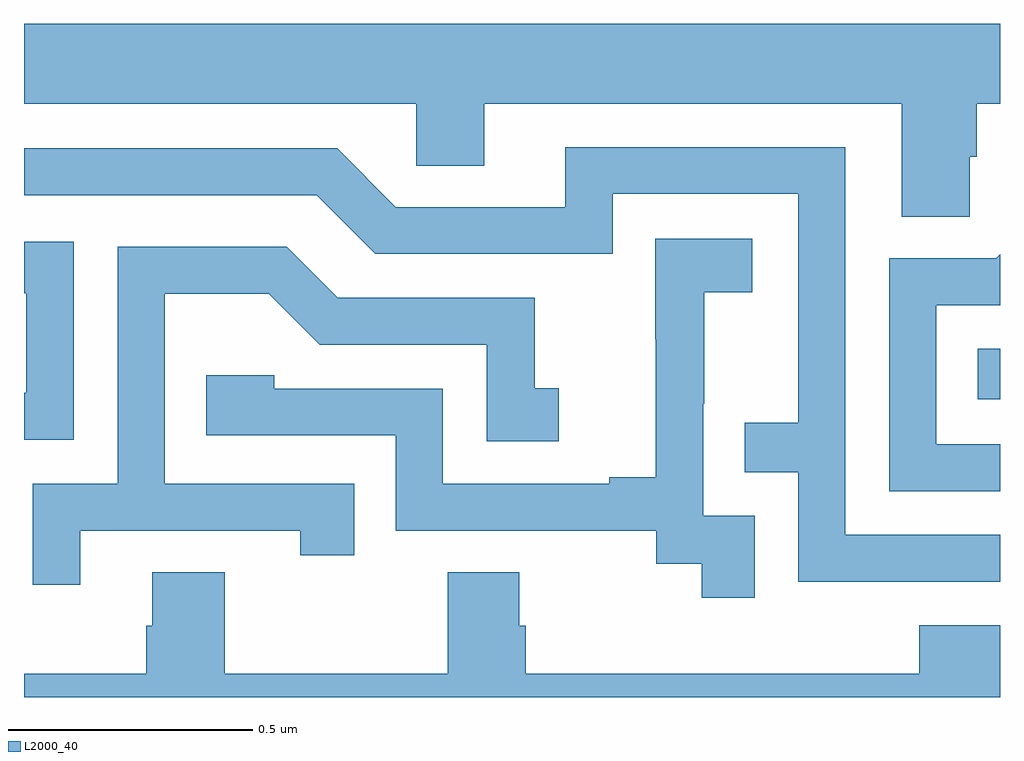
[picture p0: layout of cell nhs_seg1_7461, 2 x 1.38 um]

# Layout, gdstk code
import gdstk
lib = gdstk.Library(unit=1e-6, precision=1e-09)
def R(c, l, rs):  # rectangles x0, y0, x1, y1
    for r in rs: c.add(gdstk.rectangle(r[:2], r[2:], *l))
def P(c, l, *ps):  # polygons
    for p in ps: c.add(gdstk.Polygon(p, *l))
L2000_40 = (2000, 40)

nhs_seg1_7461 = lib.new_cell('nhs_seg1_7461')
R(nhs_seg1_7461, L2000_40, [(205.954,533.81,206,533.914)])
P(nhs_seg1_7461, L2000_40, [(204,534.416),(204.804,534.416),(204.804,534.289),(204.943,534.289),(204.943,534.416),(205.799,534.416),(205.799,534.184),(205.938,534.184),(205.938,534.307),(205.952,534.307),(205.952,534.416),(206,534.416),(206,534.58),(204,534.58)],
  [(206,533.532),(205.683,533.532),(205.683,534.327),(205.109,534.327),(205.109,534.204),(204.762,534.204),(204.642,534.324),(204,534.324),(204,534.228),(204.6,534.228),(204.72,534.108),(205.206,534.108),(205.206,534.231),(205.587,534.231),(205.587,533.762),(205.477,533.762),(205.477,533.661),(205.587,533.661),(205.587,533.436),(206,533.436)],
  [(205.497,533.571),(205.392,533.571),(205.392,533.801),(205.394,533.801),(205.394,534.029),(205.492,534.029),(205.492,534.139),(205.294,534.139),(205.294,533.933),(205.295,533.933),(205.295,533.65),(205.199,533.65),(205.199,533.637),(204.858,533.637),(204.858,533.832),(204.513,533.832),(204.513,533.859),(204.373,533.859),(204.373,533.736),(204.762,533.736),(204.762,533.541),(205.296,533.541),(205.296,533.473),(205.389,533.473),(205.389,533.403),(205.497,533.403)],
  [(204.102,534.133),(204,534.133),(204,534.027),(204.005,534.027),(204.005,533.823),(204,533.823),(204,533.727),(204.102,533.727)],
  [(204.115,533.541),(204.566,533.541),(204.566,533.49),(204.677,533.49),(204.677,533.637),(204.288,533.637),(204.288,534.026),(204.502,534.026),(204.606,533.922),(204.948,533.922),(204.948,533.724),(205.096,533.724),(205.096,533.833),(205.047,533.833),(205.047,534.018),(204.643,534.018),(204.538,534.123),(204.192,534.123),(204.192,533.637),(204.018,533.637),(204.018,533.43),(204.115,533.43)],
  [(206,533.718),(205.869,533.718),(205.869,534.003),(206,534.003),(206,534.107),(205.992,534.099),(205.773,534.099),(205.773,533.622),(206,533.622)],
  [(206,533.347),(205.835,533.347),(205.835,533.248),(205.028,533.248),(205.028,533.346),(205.015,533.346),(205.015,533.456),(204.868,533.456),(204.868,533.248),(204.411,533.248),(204.411,533.456),(204.263,533.456),(204.263,533.346),(204.251,533.346),(204.251,533.248),(204,533.248),(204,533.199),(206,533.199)])

lib.write_gds('nhs_seg1_7461.gds')
